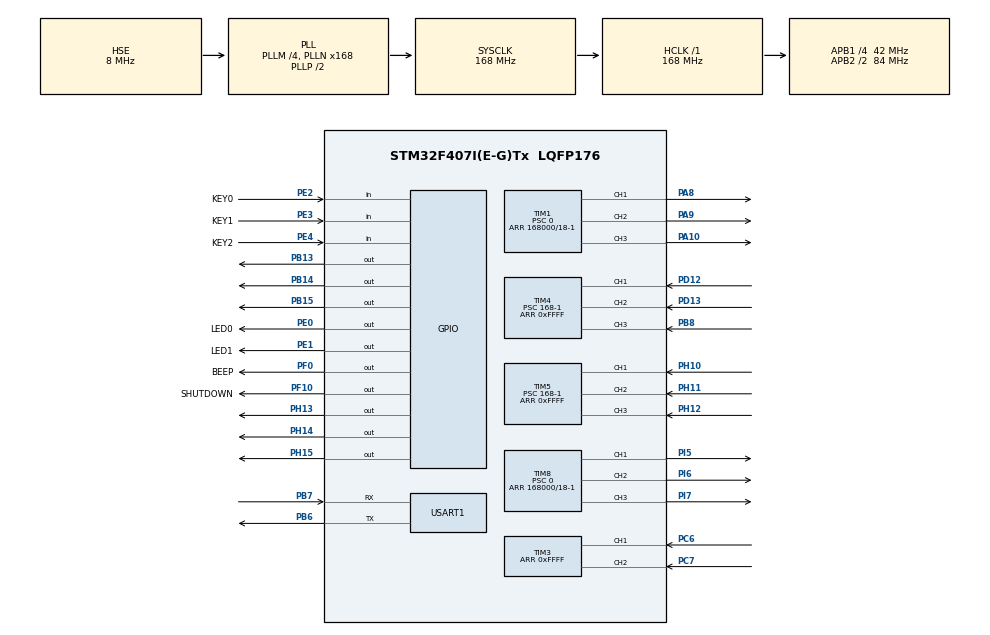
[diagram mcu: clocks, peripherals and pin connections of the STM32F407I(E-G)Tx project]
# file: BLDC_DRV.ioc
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Dma.Request0=USART1_RX
Dma.USART1_RX.0.Direction=DMA_PERIPH_TO_MEMORY
Dma.USART1_RX.0.FIFOMode=DMA_FIFOMODE_DISABLE
Dma.USART1_RX.0.Instance=DMA2_Stream2
Dma.USART1_RX.0.MemDataAlignment=DMA_MDATAALIGN_BYTE
Dma.USART1_RX.0.MemInc=DMA_MINC_ENABLE
Dma.USART1_RX.0.Mode=DMA_NORMAL
Dma.USART1_RX.0.PeriphDataAlignment=DMA_PDATAALIGN_BYTE
Dma.USART1_RX.0.PeriphInc=DMA_PINC_DISABLE
Dma.USART1_RX.0.Priority=DMA_PRIORITY_LOW
Mcu.Family=STM32F4
Mcu.Name=STM32F407I(E-G)Tx
Mcu.Package=LQFP176
NVIC.DMA2_Stream2_IRQn=true\:0\:0\:false\:false\:true\:false\:true
NVIC.PriorityGroup=NVIC_PRIORITYGROUP_4
NVIC.TIM1_BRK_TIM9_IRQn=true\:0\:0\:false\:true\:true\:1\:true\:true
NVIC.TIM1_CC_IRQn=true\:0\:0\:false\:true\:true\:4\:true\:true
NVIC.TIM1_TRG_COM_TIM11_IRQn=true\:0\:0\:false\:true\:true\:3\:true\:true
NVIC.TIM1_UP_TIM10_IRQn=true\:0\:0\:false\:true\:true\:2\:true\:true
NVIC.TIM4_IRQn=true\:0\:0\:false\:true\:true\:5\:true\:true
NVIC.TIM5_IRQn=true\:0\:0\:false\:true\:true\:7\:true\:true
NVIC.TIM6_DAC_IRQn=true\:0\:0\:false\:true\:true\:8\:true\:true
NVIC.USART1_IRQn=true\:1\:0\:true\:true\:true\:6\:true\:true
PA10.Signal=S_TIM1_CH3
PA13.Mode=Serial_Wire
PA13.Signal=SYS_JTMS-SWDIO
PA14.Mode=Serial_Wire
PA14.Signal=SYS_JTCK-SWCLK
PA8.Signal=S_TIM1_CH1
PA9.Signal=S_TIM1_CH2
PB13.Signal=GPIO_Output
PB14.Signal=GPIO_Output
PB15.Signal=GPIO_Output
PB6.Mode=Asynchronous
PB6.Signal=USART1_TX
PB7.Mode=Asynchronous
PB7.Signal=USART1_RX
PB8.Signal=S_TIM4_CH3
PC6.Signal=S_TIM3_CH1
PC7.Signal=S_TIM3_CH2
PD12.Signal=S_TIM4_CH1
PD13.Signal=S_TIM4_CH2
PE0.GPIO_Label=LED0
PE0.PinState=GPIO_PIN_SET
PE0.Signal=GPIO_Output
PE1.GPIO_Label=LED1
PE1.PinState=GPIO_PIN_SET
PE1.Signal=GPIO_Output
PE2.GPIO_Label=KEY0
PE2.GPIO_PuPd=GPIO_PULLUP
PE2.Signal=GPIO_Input
PE3.GPIO_Label=KEY1
PE3.GPIO_PuPd=GPIO_PULLUP
PE3.Signal=GPIO_Input
PE4.GPIO_Label=KEY2
PE4.GPIO_PuPd=GPIO_PULLUP
PE4.Signal=GPIO_Input
PF0.GPIO_Label=BEEP
PF0.Signal=GPIO_Output
PF10.GPIO_Label=SHUTDOWN
PF10.Signal=GPIO_Output
PH0-OSC_IN.Mode=HSE-External-Oscillator
PH0-OSC_IN.Signal=RCC_OSC_IN
PH1-OSC_OUT.Mode=HSE-External-Oscillator
PH1-OSC_OUT.Signal=RCC_OSC_OUT
PH10.Signal=S_TIM5_CH1
PH11.Signal=S_TIM5_CH2
PH12.Signal=S_TIM5_CH3
PH13.Signal=GPIO_Output
PH14.Signal=GPIO_Output
PH15.Signal=GPIO_Output
PI5.Signal=S_TIM8_CH1
PI6.Signal=S_TIM8_CH2
PI7.Signal=S_TIM8_CH3
ProjectManager.HeapSize=0x800
ProjectManager.StackSize=0x1000
ProjectManager.TargetToolchain=MDK-ARM V5.27
RCC.48MHZClocksFreq_Value=48000000
RCC.AHBFreq_Value=168000000
RCC.APB1CLKDivider=RCC_HCLK_DIV4
RCC.APB1Freq_Value=42000000
RCC.APB1TimFreq_Value=84000000
RCC.APB2CLKDivider=RCC_HCLK_DIV2
RCC.APB2Freq_Value=84000000
RCC.APB2TimFreq_Value=168000000
RCC.CortexFreq_Value=168000000
RCC.HCLKFreq_Value=168000000
RCC.HSE_VALUE=8000000
RCC.HSI_VALUE=16000000
RCC.LSE_VALUE=32768
RCC.PLLM=4
RCC.PLLN=168
RCC.PLLQ=7
RCC.PLLSourceVirtual=RCC_PLLSOURCE_HSE
RCC.RCC_RTC_Clock_Source=RCC_RTCCLKSOURCE_LSI
RCC.RCC_RTC_Clock_SourceVirtual=RCC_RTCCLKSOURCE_LSE
RCC.RCC_RTC_Clock_Source_FROM_HSE=RCC_RTCCLKSOURCE_HSE_DIV8
RCC.SYSCLKFreq_VALUE=168000000
RCC.SYSCLKSource=RCC_SYSCLKSOURCE_PLLCLK
RCC.VCOOutputFreq_Value=336000000
SH.S_TIM1_CH1.0=TIM1_CH1,PWM Generation1 CH1
SH.S_TIM1_CH2.0=TIM1_CH2,PWM Generation2 CH2
SH.S_TIM1_CH3.0=TIM1_CH3,PWM Generation3 CH3
SH.S_TIM3_CH1.0=TIM3_CH1,Encoder_Interface
SH.S_TIM3_CH2.0=TIM3_CH2,Encoder_Interface
SH.S_TIM4_CH1.0=TIM4_CH1,Xored_Inputs_Hall_Sensor_Interface
SH.S_TIM4_CH2.0=TIM4_CH2,Xored_Inputs_Hall_Sensor_Interface
SH.S_TIM4_CH3.0=TIM4_CH3,Xored_Inputs_Hall_Sensor_Interface
SH.S_TIM5_CH1.0=TIM5_CH1,Xored_Inputs_Hall_Sensor_Interface
SH.S_TIM5_CH2.0=TIM5_CH2,Xored_Inputs_Hall_Sensor_Interface
SH.S_TIM5_CH3.0=TIM5_CH3,Xored_Inputs_Hall_Sensor_Interface
SH.S_TIM8_CH1.0=TIM8_CH1,PWM Generation1 CH1
SH.S_TIM8_CH2.0=TIM8_CH2,PWM Generation2 CH2
SH.S_TIM8_CH3.0=TIM8_CH3,PWM Generation3 CH3
TIM1.AutoReloadPreload=TIM_AUTORELOAD_PRELOAD_ENABLE
TIM1.AutomaticOutput=TIM_AUTOMATICOUTPUT_DISABLE
TIM1.BreakState=TIM_BREAK_DISABLE
TIM1.Channel-PWM\ Generation1\ CH1=TIM_CHANNEL_1
TIM1.Channel-PWM\ Generation2\ CH2=TIM_CHANNEL_2
TIM1.Channel-PWM\ Generation3\ CH3=TIM_CHANNEL_3
TIM1.OCFastMode_PWM-PWM\ Generation1\ CH1=TIM_OCFAST_ENABLE
TIM1.OCFastMode_PWM-PWM\ Generation2\ CH2=TIM_OCFAST_ENABLE
TIM1.OCFastMode_PWM-PWM\ Generation3\ CH3=TIM_OCFAST_ENABLE
TIM1.OCIdleState_1=TIM_OCIDLESTATE_RESET
TIM1.OCIdleState_2=TIM_OCIDLESTATE_RESET
TIM1.OCIdleState_3=TIM_OCIDLESTATE_RESET
TIM1.OffStateIDLEMode=TIM_OSSI_DISABLE
TIM1.OffStateRunMode=TIM_OSSR_DISABLE
TIM1.Period=168000/18-1
TIM1.Prescaler=0
TIM1.TIM_MasterOutputTrigger=TIM_TRGO_UPDATE
TIM3.IC1Filter=7
TIM3.IC2Filter=7
TIM3.Period=0xFFFF
TIM3.TIM_MasterOutputTrigger=TIM_TRGO_UPDATE
TIM4.IC1Filter=10
TIM4.Period=0xFFFF
TIM4.Prescaler=168-1
TIM5.IC1Filter=10
TIM5.Period=0xFFFF
TIM5.Prescaler=168-1
TIM6.AutoReloadPreload=TIM_AUTORELOAD_PRELOAD_ENABLE
TIM6.Period=1000-1
TIM6.Prescaler=84-1
TIM8.AutoReloadPreload=TIM_AUTORELOAD_PRELOAD_ENABLE
TIM8.Channel-PWM\ Generation1\ CH1=TIM_CHANNEL_1
TIM8.Channel-PWM\ Generation2\ CH2=TIM_CHANNEL_2
TIM8.Channel-PWM\ Generation3\ CH3=TIM_CHANNEL_3
TIM8.OCFastMode_PWM-PWM\ Generation1\ CH1=TIM_OCFAST_ENABLE
TIM8.OCFastMode_PWM-PWM\ Generation2\ CH2=TIM_OCFAST_ENABLE
TIM8.OCFastMode_PWM-PWM\ Generation3\ CH3=TIM_OCFAST_ENABLE
TIM8.OCIdleState_1=TIM_OCIDLESTATE_RESET
TIM8.OCIdleState_2=TIM_OCIDLESTATE_RESET
TIM8.OCIdleState_3=TIM_OCIDLESTATE_RESET
TIM8.Period=168000/18-1
TIM8.Prescaler=0
USART1.VirtualMode=VM_ASYNC
VP_TIM1_VS_ClockSourceINT.Mode=Internal
VP_TIM4_VS_ClockSourceINT.Mode=Internal
VP_TIM5_VS_ClockSourceINT.Mode=Internal
VP_TIM6_VS_ClockSourceINT.Mode=Enable_Timer
VP_TIM8_VS_ClockSourceINT.Mode=Internal
board=custom

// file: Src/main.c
/* USER CODE BEGIN Header */
/**
  ******************************************************************************
  * @file           : main.c
  * @brief          : Main program body
  ******************************************************************************
  * @attention
  *
  * <h2><center>&copy; Copyright (c) 2021 STMicroelectronics.
  * All rights reserved.</center></h2>
  *
  * This software component is licensed by ST under BSD 3-Clause license,
  * the "License"; You may not use this file except in compliance with the
  * License. You may obtain a copy of the License at:
  *                        opensource.org/licenses/BSD-3-Clause
  *
  ******************************************************************************
  */
/* USER CODE END Header */
#include "main.h"
#include "dma.h"
#include "tim.h"
#include "usart.h"
#include "gpio.h"

void SystemClock_Config(void);
static void MX_NVIC_Init(void);

/* USER CODE BEGIN 0 */

_bldc_obj bldc_motor1 = {STOP,0,0,CCW,0,0,0,0,0,0,0,0,0,0};/*电机结构体*/

PF_MOS_CTR pFuncList_M1[6] =
{
    &M1_MOS_UHWLPWM, &M1_MOS_VHULPWM, &M1_MOS_VHWLPWM,
    &M1_MOS_WHVLPWM, &M1_MOS_UHVLPWM, &M1_MOS_WHULPWM
};

const uint8_t Hall_Table_CW[6] = {6,2,3,1,5,4};     /* 顺时针旋转表 */
const uint8_t Hall_Table_CCW[6] = {5,1,3,2,6,4};    /* 逆时针旋转表 */

const uint8_t Hall_CW_Table[12] = {0x62,0x23,0x31,0x15,0x54,0x46,0x63,0x21,0x35,0x14,0x56,0x42};
const uint8_t Hall_CCW_Table[12] = {0x45,0x51,0x13,0x32,0x26,0x64,0x41,0x53,0x12,0x36,0x24,0x65};

uint8_t check_hall_dir(_bldc_obj * obj)
{
    uint8_t temp,res = HALL_ERROR;
    if((obj->step_last <= 6)&&(obj->step_sta <= 6))
    {
        temp = ((obj->step_last & 0x0F) << 4)|(obj->step_sta & 0x0F);
        if((temp == Hall_CCW_Table[0])||(temp == Hall_CCW_Table[1])||\
                (temp == Hall_CCW_Table[2])||(temp == Hall_CCW_Table[3])||\
                (temp == Hall_CCW_Table[4])||(temp == Hall_CCW_Table[5]))
        {
            res  = CCW;
        }
        else if((temp == Hall_CW_Table[0])||(temp == Hall_CW_Table[1])||\
                (temp == Hall_CW_Table[2])||(temp == Hall_CW_Table[3])||\
                (temp == Hall_CW_Table[4])||(temp == Hall_CW_Table[5]))
        {
            res  = CW;
        }
    }
    return res;
}

void M1_MOS_UHVLPWM(void)
{
#ifdef H_PWM_L_PWM
    TIM1_CCCC1E;
    TIM1_CCCC1NE;

    TIM1_CCCC2E;
    TIM1_CCCC2NE;

    TIM1_CCCC3D;
    TIM1_CCCC3ND;

    __HAL_TIM_SetCompare(&htim1,TIM_CHANNEL_1,bldc_motor1.pwm_duty);
    __HAL_TIM_SetCompare(&htim1,TIM_CHANNEL_2, 0);
#endif
#ifdef H_PWM_L_ON
    htim1.Instance->CCR2 = 0;
    htim1.Instance->CCR3 = 0;

    M1_ULL;/*U相下桥臂关闭*/
    M1_WLL;/*W相下桥臂关闭*/

    htim1.Instance->CCR1 = bldc_motor1.pwm_duty;/*U相上桥臂PWM*/
    M1_VLH;/*V相下桥臂导通*/
#endif
}

void M1_MOS_UHWLPWM(void)
{
#ifdef H_PWM_L_PWM
    TIM1_CCCC1E;
    TIM1_CCCC1NE;

    TIM1_CCCC2D;
    TIM1_CCCC2ND;

    TIM1_CCCC3E;
    TIM1_CCCC3NE;
    __HAL_TIM_SetCompare(&htim1,TIM_CHANNEL_1,bldc_motor1.pwm_duty);
    __HAL_TIM_SetCompare(&htim1,TIM_CHANNEL_3, 0);
#endif
#ifdef H_PWM_L_ON
    htim1.Instance->CCR2 = 0;
    htim1.Instance->CCR3 = 0;

    M1_ULL;
    M1_VLL;

    htim1.Instance->CCR1 = bldc_motor1.pwm_duty;
    M1_WLH;
#endif
}

void M1_MOS_VHWLPWM(void)
{
#ifdef H_PWM_L_PWM
    TIM1_CCCC1D;
    TIM1_CCCC1ND;

    TIM1_CCCC2E;
    TIM1_CCCC2NE;

    TIM1_CCCC3E;
    TIM1_CCCC3NE;
    __HAL_TIM_SetCompare(&htim1,TIM_CHANNEL_2,bldc_motor1.pwm_duty);
    __HAL_TIM_SetCompare(&htim1,TIM_CHANNEL_3, 0);
#endif
#ifdef H_PWM_L_ON
    htim1.Instance->CCR1=0;
    htim1.Instance->CCR3=0;

    M1_ULL;
    M1_VLL;

    htim1.Instance->CCR2 = bldc_motor1.pwm_duty;
    M1_WLH;
#endif
}

void M1_MOS_VHULPWM(void)
{
#ifdef H_PWM_L_PWM
    TIM1_CCCC1E;
    TIM1_CCCC1NE;

    TIM1_CCCC2E;
    TIM1_CCCC2NE;

    TIM1_CCCC3D;
    TIM1_CCCC3ND;
    __HAL_TIM_SetCompare(&htim1,TIM_CHANNEL_2,bldc_motor1.pwm_duty);
    __HAL_TIM_SetCompare(&htim1,TIM_CHANNEL_1, 0);
#endif
#ifdef H_PWM_L_ON
    htim1.Instance->CCR1 = 0;
    htim1.Instance->CCR3 = 0;

    M1_VLL;
    M1_WLL;

    htim1.Instance->CCR2 = bldc_motor1.pwm_duty;
    M1_ULH;
#endif
}

void M1_MOS_WHULPWM(void)
{
#ifdef H_PWM_L_PWM
    TIM1_CCCC1E;
    TIM1_CCCC1NE;

    TIM1_CCCC2D;
    TIM1_CCCC2ND;

    TIM1_CCCC3E;
    TIM1_CCCC3NE;
    __HAL_TIM_SetCompare(&htim1,TIM_CHANNEL_3,bldc_motor1.pwm_duty);
    __HAL_TIM_SetCompare(&htim1,TIM_CHANNEL_1, 0);
#endif
#ifdef H_PWM_L_ON
    htim1.Instance->CCR2 = 0;
    htim1.Instance->CCR1 = 0;

    M1_VLL;
    M1_WLL;

    htim1.Instance->CCR3 = bldc_motor1.pwm_duty;
    M1_ULH;
#endif
}

void M1_MOS_WHVLPWM(void)
{
#ifdef H_PWM_L_PWM
    TIM1_CCCC1D;
    TIM1_CCCC1ND;

    TIM1_CCCC2E;
    TIM1_CCCC2NE;

    TIM1_CCCC3E;
    TIM1_CCCC3NE;
    __HAL_TIM_SetCompare(&htim1,TIM_CHANNEL_3,bldc_motor1.pwm_duty);
    __HAL_TIM_SetCompare(&htim1,TIM_CHANNEL_2, 0);
#endif
#ifdef H_PWM_L_ON
    htim1.Instance->CCR2 = 0;
    htim1.Instance->CCR1 = 0;

    M1_ULL;
    M1_WLL;

    htim1.Instance->CCR3 = bldc_motor1.pwm_duty;
    M1_VLH;
#endif
}

uint32_t HallSensor_GetPinState(uint8_t motor_id)
{
    __IO static uint32_t State ;
    State  = 0;
    if(motor_id == MOTOR_1)
    {
        if(M1_HALL_U != GPIO_PIN_RESET)  /* 霍尔传感器状态获取 */
        {
            State |= 0x01U;
        }
        if(M1_HALL_V != GPIO_PIN_RESET)  /* 霍尔传感器状态获取 */
        {
            State |= 0x02U;
        }
        if(M1_HALL_W != GPIO_PIN_RESET)  /* 霍尔传感器状态获取 */
        {
            State |= 0x04U;
        }
    }
    return State;
}

void Start_Motor1(void)
{
    HAL_TIM_PWM_Start(&htim1,TIM_CHANNEL_1);
    HAL_TIM_PWM_Start(&htim1,TIM_CHANNEL_2);
    HAL_TIM_PWM_Start(&htim1,TIM_CHANNEL_3);

    M1_ULL;
    M1_VLL;
    M1_WLL;
}

void Stop_Motor1(void)
{
    TIM1->CCR1 = 0;
    TIM1->CCR2 = 0;
    TIM1->CCR3 = 0;
    TIM1->CNT = 0;

    TIM1_CCCC1D;
    TIM1_CCCC2D;
    TIM1_CCCC3D;
    TIM1_CCCC1ND;
    TIM1_CCCC2ND;
    TIM1_CCCC3ND;
    M1_ULL;
    M1_VLL;
    M1_WLL;

//    M1_ULH;M1_VLH;M1_WLH;
}

void SoftReversing(uint8_t h_sta)
{
    if(bldc_motor1.dir == CCW)
    {
        bldc_motor1.step_sta = h_sta;
    }
    else
    {
        bldc_motor1.step_sta = 7 - h_sta;
    }
    if((bldc_motor1.step_sta <= 6)&&(bldc_motor1.step_sta >= 1))
    {
        pFuncList_M1[bldc_motor1.step_sta-1]();
    }
    else    /* 编码器错误、接触不良、断开等情况 */
    {
        bldc_motor1.run_flag = STOP;
    }
}

void HAL_TIM_PeriodElapsedCallback(TIM_HandleTypeDef *htim)
{
    uint8_t bldc_dir=0;
    static uint8_t hal_old_sta = 0xFF,l_cnt = 0;
    uint8_t hal_cur_sta = 0;
    if(htim->Instance == htim1.Instance)//55us
    {
        l_cnt ++;
        if(l_cnt == 100)
        {
            bldc_motor1.speed = (bldc_motor1.pos - bldc_motor1.pos_old);
            bldc_motor1.pos_old = bldc_motor1.pos;
            l_cnt = 0;
            printf("speed:%d\r\n",bldc_motor1.speed);
        }
#ifdef H_PWM_L_ON
        if(bldc_motor1.run_flag == RUN)
        {
            hal_cur_sta = HallSensor_GetPinState(MOTOR_1);
            if(hal_old_sta != hal_cur_sta)
            {
                SoftReversing(hal_cur_sta);
                hal_old_sta = hal_cur_sta;
                //HAL_GPIO_TogglePin(LED1_GPIO_Port,LED1_Pin);
            }
            if(bldc_motor1.step_last != bldc_motor1.step_sta)
            {
                bldc_motor1.hall_keep_t=0;
                bldc_dir = check_hall_dir(&bldc_motor1);
                if(bldc_dir == CCW)
                {
                    bldc_motor1.pos -=1;
                }
                else if(bldc_dir == CW)
                {
                    bldc_motor1.pos +=1;
                }

                printf("pos:%d\r\n",bldc_motor1.pos);
                bldc_motor1.step_last = bldc_motor1.step_sta;
            }
            else if(bldc_motor1.run_flag == RUN)    /*运行且霍尔保持时 */
            {
                bldc_motor1.hall_keep_t++;//换向一次所需计数值（时间） 单位1/18k
            }
        }

#endif
    }
}

void BLDC_Ctrl(uint8_t motor_id,int32_t dir,uint16_t duty)
{
    if(motor_id == MOTOR_1)
    {
        if(duty == 0)
        {
            Stop_Motor1();
            bldc_motor1.pwm_duty = 0;
            bldc_motor1.run_flag = STOP;
            bldc_motor1.dir = dir;
        }
        else
        {
            if(bldc_motor1.run_flag == STOP)
            {
                bldc_motor1.run_flag = RUN;
                bldc_motor1.dir = dir;            /* 方向 */
                bldc_motor1.pwm_duty = duty;      /* 占空比 */
                Start_Motor1();/*开启运行*/
                SoftReversing(HallSensor_GetPinState(MOTOR_1));
            }
            else
            {
                if(bldc_motor1.dir != dir)
                {
                    uint16_t spd = bldc_motor1.pwm_duty;
                    Stop_Motor1();
                    bldc_motor1.pwm_duty = 0;
                    bldc_motor1.run_flag = STOP;

                    M1_ULH;
                    M1_VLH;
                    M1_WLH;
                    if(spd >= 200)
                    HAL_Delay(spd>>6);
                    M1_ULL;
                    M1_VLL;
                    M1_WLL;
                    if(spd >= 200)
                    HAL_Delay(spd/38);
                }
                bldc_motor1.dir = dir;            /* 方向 */
                bldc_motor1.pwm_duty = duty;      /* 占空比 */
                bldc_motor1.run_flag = RUN;
                Start_Motor1();/*开启运行*/
                SoftReversing(HallSensor_GetPinState(MOTOR_1));
            }
        }
    }
}

/* USER CODE END 0 */

int main(void)
{

  /* MCU Configuration--------------------------------------------------------*/

  /* Reset of all peripherals, Initializes the Flash interface and the Systick. */
  HAL_Init();

  /* Configure the system clock */
  SystemClock_Config();

  /* Initialize all configured peripherals */
  MX_GPIO_Init();
  MX_DMA_Init();
  MX_USART1_UART_Init();
  MX_TIM1_Init();
  MX_TIM4_Init();
  MX_TIM6_Init();
  MX_TIM5_Init();
  MX_TIM8_Init();
  MX_TIM3_Init();

  /* Initialize interrupts */
  MX_NVIC_Init();
  /* USER CODE BEGIN 2 */
    printf("sys run...\r\n");
    HAL_GPIO_WritePin(SHUTDOWN_GPIO_Port,SHUTDOWN_Pin,GPIO_PIN_SET);
    HAL_TIM_Base_Start(&htim1);/*启动高级定时器1*/
    __HAL_TIM_ENABLE_IT(&htim1,TIM_IT_UPDATE);
  /* USER CODE END 2 */

  /* Infinite loop */
  /* USER CODE BEGIN WHILE */
    BLDC_Ctrl(MOTOR_1, CCW, 1600);

    HAL_Delay(300);

    BLDC_Ctrl(MOTOR_1, CW, 1800);

    HAL_Delay(300);

    BLDC_Ctrl(MOTOR_1, CCW, 2600);

    HAL_Delay(300);

    BLDC_Ctrl(MOTOR_1, CW, 1800);

    HAL_Delay(300);

    BLDC_Ctrl(MOTOR_1, CCW, 0);
    while (1)
    {
        HAL_Delay(100);

        BLDC_Ctrl(MOTOR_1, CW, 2200);

        HAL_Delay(100);

        BLDC_Ctrl(MOTOR_1, CCW, 2800);

        HAL_Delay(100);

        BLDC_Ctrl(MOTOR_1, CW, 3200);

        HAL_Delay(100);

        BLDC_Ctrl(MOTOR_1, CCW, 2800);
    /* USER CODE END WHILE */

    }
}

void SystemClock_Config(void)
{
  RCC_OscInitTypeDef RCC_OscInitStruct = {0};
  RCC_ClkInitTypeDef RCC_ClkInitStruct = {0};

  /** Configure the main internal regulator output voltage
  */
  __HAL_RCC_PWR_CLK_ENABLE();
  __HAL_PWR_VOLTAGESCALING_CONFIG(PWR_REGULATOR_VOLTAGE_SCALE1);
  /** Initializes the RCC Oscillators according to the specified parameters
  * in the RCC_OscInitTypeDef structure.
  */
  RCC_OscInitStruct.OscillatorType = RCC_OSCILLATORTYPE_HSE;
  RCC_OscInitStruct.HSEState = RCC_HSE_ON;
  RCC_OscInitStruct.PLL.PLLState = RCC_PLL_ON;
  RCC_OscInitStruct.PLL.PLLSource = RCC_PLLSOURCE_HSE;
  RCC_OscInitStruct.PLL.PLLM = 4;
  RCC_OscInitStruct.PLL.PLLN = 168;
  RCC_OscInitStruct.PLL.PLLP = RCC_PLLP_DIV2;
  RCC_OscInitStruct.PLL.PLLQ = 7;
  if (HAL_RCC_OscConfig(&RCC_OscInitStruct) != HAL_OK)
  {
    Error_Handler();
  }
  /** Initializes the CPU, AHB and APB buses clocks
  */
  RCC_ClkInitStruct.ClockType = RCC_CLOCKTYPE_HCLK|RCC_CLOCKTYPE_SYSCLK
                              |RCC_CLOCKTYPE_PCLK1|RCC_CLOCKTYPE_PCLK2;
  RCC_ClkInitStruct.SYSCLKSource = RCC_SYSCLKSOURCE_PLLCLK;
  RCC_ClkInitStruct.AHBCLKDivider = RCC_SYSCLK_DIV1;
  RCC_ClkInitStruct.APB1CLKDivider = RCC_HCLK_DIV4;
  RCC_ClkInitStruct.APB2CLKDivider = RCC_HCLK_DIV2;

  if (HAL_RCC_ClockConfig(&RCC_ClkInitStruct, FLASH_LATENCY_5) != HAL_OK)
  {
    Error_Handler();
  }
}

/**
  * @brief NVIC Configuration.
  * @retval None
  */
static void MX_NVIC_Init(void)
{
  /* TIM1_BRK_TIM9_IRQn interrupt configuration */
  HAL_NVIC_SetPriority(TIM1_BRK_TIM9_IRQn, 0, 0);
  HAL_NVIC_EnableIRQ(TIM1_BRK_TIM9_IRQn);
  /* TIM1_UP_TIM10_IRQn interrupt configuration */
  HAL_NVIC_SetPriority(TIM1_UP_TIM10_IRQn, 0, 0);
  HAL_NVIC_EnableIRQ(TIM1_UP_TIM10_IRQn);
  /* TIM1_TRG_COM_TIM11_IRQn interrupt configuration */
  HAL_NVIC_SetPriority(TIM1_TRG_COM_TIM11_IRQn, 0, 0);
  HAL_NVIC_EnableIRQ(TIM1_TRG_COM_TIM11_IRQn);
  /* TIM1_CC_IRQn interrupt configuration */
  HAL_NVIC_SetPriority(TIM1_CC_IRQn, 0, 0);
  HAL_NVIC_EnableIRQ(TIM1_CC_IRQn);
  /* TIM4_IRQn interrupt configuration */
  HAL_NVIC_SetPriority(TIM4_IRQn, 0, 0);
  HAL_NVIC_EnableIRQ(TIM4_IRQn);
  /* USART1_IRQn interrupt configuration */
  HAL_NVIC_SetPriority(USART1_IRQn, 1, 0);
  HAL_NVIC_EnableIRQ(USART1_IRQn);
  /* TIM5_IRQn interrupt configuration */
  HAL_NVIC_SetPriority(TIM5_IRQn, 0, 0);
  HAL_NVIC_EnableIRQ(TIM5_IRQn);
  /* TIM6_DAC_IRQn interrupt configuration */
  HAL_NVIC_SetPriority(TIM6_DAC_IRQn, 0, 0);
  HAL_NVIC_EnableIRQ(TIM6_DAC_IRQn);
}

/* USER CODE BEGIN 4 */

#ifdef __GNUC__
/* With GCC/RAISONANCE, small printf (option LD Linker->Libraries->Small printf
   set to 'Yes') calls __io_putchar() */
#define PUTCHAR_PROTOTYPE int __io_putchar(int ch)
#else
#define PUTCHAR_PROTOTYPE int fputc(int ch, FILE *f)
#endif /* __GNUC__ */
/**
  * @brief  Retargets the C library printf function to the USART.
  * @param  None
  * @retval None
  */
PUTCHAR_PROTOTYPE
{
    /* Place your implementation of fputc here */
    /* e.g. write a character to the EVAL_COM1 and Loop until the end of transmission */
    HAL_UART_Transmit(&huart1, (uint8_t *)&ch, 1, 0xFFFF);

    return ch;
}

/* USER CODE END 4 */

void Error_Handler(void)
{
    __disable_irq();
    while (1)
    {
    }
}

/************************ (C) COPYRIGHT STMicroelectronics *****END OF FILE****/
